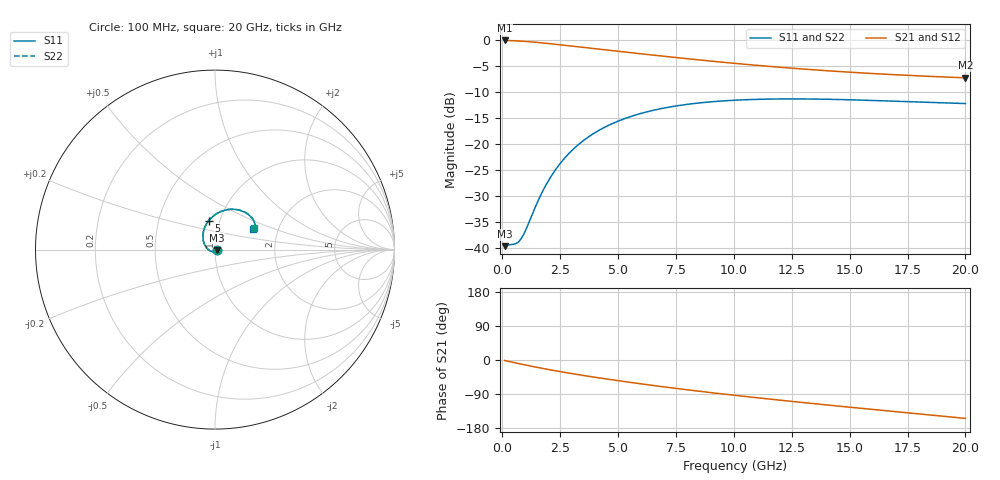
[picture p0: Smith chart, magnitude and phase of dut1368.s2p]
! Touchstone file exported from HFSS 2024.1.0
!  File:  C:/UserFiles/LocalFiles/RDL_TSV_Batchsim/temp_RDL_TSV_1368_1780398349.aedt
!  Generated:  07:21:17 PM Jun  2, 2026
!  Design:  RDL_TSV
!  Project:  temp_RDL_TSV_1368_1780398349
!  Setup:  Setup1
!  Solution:  Sweep
! Variables:
!  dtsv = 6.63um
!  hbump = 3um
!  htsv = 99.95um
!  ldown = 276.23um
!  lrdl = 256.71um
!  p = 40
!  p1 = 47.99um
!  rhole = 10um
!  subl = 1855.53um
!  t = 450um
!  tdown = 3.66um
!  trdl = 2.57um
!  viad = 10um
!  wdown = 25.98um
!  wrdl = 28.24um
!  xbump = 18um
# GHz S MA R 50.000000
! Terminal data exported
! Port[1] = TM1_1_T1
! Port[2] = TM1_4_T1
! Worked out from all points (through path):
!   200 points, 100 MHz to 20 GHz, reference 50 ohm
!   highest |S21| = -0.09 dB at 100 MHz (marker M1); lowest = -7.3 dB at 20 GHz (marker M2)
!   group delay of S21, straight-line fit = 20.3 ps
!   lowest |S11| = -39.7 dB at 100 MHz (marker M3), VSWR 1.02, Z = 51 - j0.138 ohm
!   |S11| at or under -10 dB: start of sweep to end of sweep
!   |S22| runs from -39.7 to -11.3 dB; largest |S21 - S12| = 9.2e-15
!   S11 on the Smith chart (normalised r, x): 100 MHz: 1.02, -0.00; 5 GHz: 0.89, +0.29; 20 GHz: 1.49, +0.37
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0.1  0.01033 -7.5  0.9893 -1.4  0.9893 -1.4  0.01033 -7.5
! Gamma 0 0 0 0
! Port Impedance 50 0 50 0
0.6  0.01097 -63.8  0.9805 -8.1  0.9805 -8.1  0.01097 -63.8
0.8  0.01205 -91.9  0.975 -10.7  0.975 -10.7  0.01205 -92.0
1  0.01457 -118.0  0.9685 -13.2  0.9685 -13.2  0.01458 -118.1
1.6  0.03005 -168.6  0.9436 -20.6  0.9436 -20.6  0.03009 -168.7
1.8  0.03697 -179.3  0.9341 -22.9  0.9341 -22.9  0.03704 -179.3
2.1  0.04835 167.7  0.9193 -26.3  0.9193 -26.3  0.04845 167.7
2.4  0.06053 157.0  0.904 -29.6  0.904 -29.6  0.06066 157.0
2.7  0.07318 147.9  0.8886 -32.8  0.8886 -32.8  0.07333 147.9
3.1  0.0903 137.4  0.8682 -36.8  0.8682 -36.8  0.0905 137.4
3.5  0.1073 128.4  0.8482 -40.8  0.8482 -40.8  0.1076 128.4
4.2  0.1358 114.8  0.8145 -47.4  0.8145 -47.4  0.1361 114.9
5  0.1653 102.1  0.778 -54.5  0.778 -54.5  0.1657 102.1
5.8  0.1908 91.3  0.7436 -61.4  0.7436 -61.4  0.1913 91.4
6.8  0.2169 80.0  0.7035 -69.5  0.7035 -69.5  0.2175 80.1
8.4  0.2461 65.6  0.6458 -81.7  0.6458 -81.7  0.2468 65.7
10.1  0.2634 53.9  0.5935 -93.6  0.5935 -93.6  0.2642 54.0
11.7  0.27 45.4  0.5525 -104.2  0.5525 -104.2  0.2709 45.5
13.4  0.27 38.6  0.5168 -114.9  0.5168 -114.9  0.2709 38.7
15  0.2655 33.9  0.4894 -124.6  0.4894 -124.6  0.2665 34.0
16.7  0.2582 30.6  0.4658 -134.7  0.4658 -134.7  0.2593 30.7
20  0.2442 28.7  0.4321 -154.1  0.4321 -154.1  0.2452 28.7
